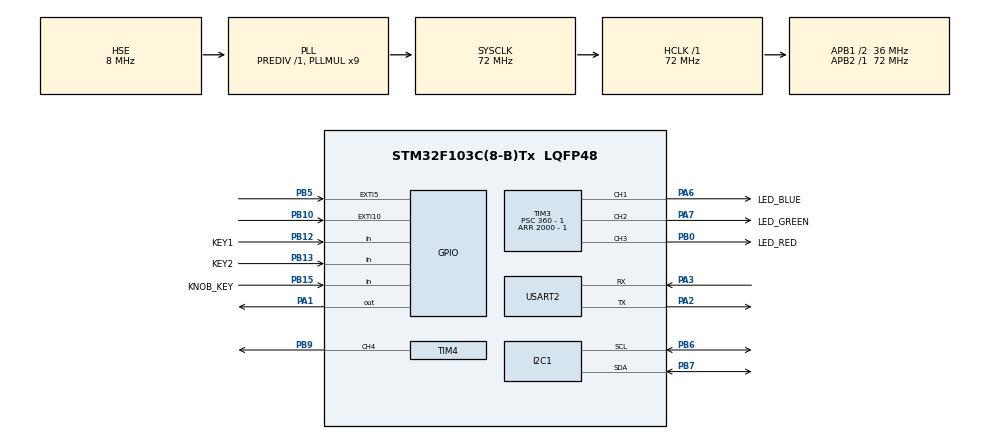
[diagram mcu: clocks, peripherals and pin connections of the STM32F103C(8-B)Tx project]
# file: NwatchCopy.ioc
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I2C1.I2C_Mode=I2C_Fast
Mcu.Family=STM32F1
Mcu.Name=STM32F103C(8-B)Tx
Mcu.Package=LQFP48
NVIC.EXTI15_10_IRQn=true\:5\:0\:true\:false\:true\:true\:true\:true
NVIC.PriorityGroup=NVIC_PRIORITYGROUP_4
PA1.GPIO_ModeDefaultOutputPP=GPIO_MODE_OUTPUT_OD
PA1.GPIO_PuPd=GPIO_PULLUP
PA1.Signal=GPIO_Output
PA13.Mode=Serial_Wire
PA13.Signal=SYS_JTMS-SWDIO
PA14.Mode=Serial_Wire
PA14.Signal=SYS_JTCK-SWCLK
PA2.Mode=Asynchronous
PA2.Signal=USART2_TX
PA3.Mode=Asynchronous
PA3.Signal=USART2_RX
PA6.GPIO_Label=LED_BLUE
PA6.Signal=S_TIM3_CH1
PA7.GPIO_Label=LED_GREEN
PA7.Signal=S_TIM3_CH2
PB0.GPIO_Label=LED_RED
PB0.Signal=S_TIM3_CH3
PB10.GPIO_ModeDefaultEXTI=GPIO_MODE_IT_RISING_FALLING
PB10.GPIO_PuPd=GPIO_PULLUP
PB10.Signal=GPXTI10
PB12.GPIO_Label=KEY1
PB12.GPIO_PuPd=GPIO_PULLUP
PB12.Signal=GPIO_Input
PB13.GPIO_Label=KEY2
PB13.GPIO_PuPd=GPIO_PULLUP
PB13.Signal=GPIO_Input
PB15.GPIO_Label=KNOB_KEY
PB15.GPIO_PuPd=GPIO_PULLUP
PB15.Signal=GPIO_Input
PB5.GPIO_PuPd=GPIO_PULLUP
PB5.Signal=GPXTI5
PB6.Mode=I2C
PB6.Signal=I2C1_SCL
PB7.Mode=I2C
PB7.Signal=I2C1_SDA
PB9.Signal=S_TIM4_CH4
PC14-OSC32_IN.Mode=LSE-External-Oscillator
PC14-OSC32_IN.Signal=RCC_OSC32_IN
PC15-OSC32_OUT.Mode=LSE-External-Oscillator
PC15-OSC32_OUT.Signal=RCC_OSC32_OUT
PD0-OSC_IN.Mode=HSE-External-Oscillator
PD0-OSC_IN.Signal=RCC_OSC_IN
PD1-OSC_OUT.Mode=HSE-External-Oscillator
PD1-OSC_OUT.Signal=RCC_OSC_OUT
ProjectManager.HeapSize=0x200
ProjectManager.StackSize=0x400
ProjectManager.TargetToolchain=CMake
RCC.AHBFreq_Value=72000000
RCC.APB1CLKDivider=RCC_HCLK_DIV2
RCC.APB1Freq_Value=36000000
RCC.APB1TimFreq_Value=72000000
RCC.APB2Freq_Value=72000000
RCC.APB2TimFreq_Value=72000000
RCC.HCLKFreq_Value=72000000
RCC.PLLMUL=RCC_PLL_MUL9
RCC.PLLSourceVirtual=RCC_PLLSOURCE_HSE
RCC.RTCClockSelection=RCC_RTCCLKSOURCE_LSE
RCC.SYSCLKFreq_VALUE=72000000
RCC.SYSCLKSource=RCC_SYSCLKSOURCE_PLLCLK
RCC.USBFreq_Value=72000000
SH.S_TIM3_CH1.0=TIM3_CH1,PWM Generation1 CH1
SH.S_TIM3_CH2.0=TIM3_CH2,PWM Generation2 CH2
SH.S_TIM3_CH3.0=TIM3_CH3,PWM Generation3 CH3
SH.S_TIM4_CH4.0=TIM4_CH4,PWM Generation4 CH4
TIM3.AutoReloadPreload=TIM_AUTORELOAD_PRELOAD_ENABLE
TIM3.Channel-PWM\ Generation1\ CH1=TIM_CHANNEL_1
TIM3.Channel-PWM\ Generation2\ CH2=TIM_CHANNEL_2
TIM3.Channel-PWM\ Generation3\ CH3=TIM_CHANNEL_3
TIM3.Period=2000 - 1
TIM3.Prescaler=360 - 1
TIM4.AutoReloadPreload=TIM_AUTORELOAD_PRELOAD_ENABLE
TIM4.Channel-PWM\ Generation4\ CH4=TIM_CHANNEL_4
TIM4.Period=1000 - 1
TIM4.Prescaler=72 - 1
TIM4.Pulse-PWM\ Generation4\ CH4=200 - 1
USART2.VirtualMode=VM_ASYNC
VP_RTC_VS_RTC_Activate.Mode=RTC_Enabled
VP_TIM3_VS_ClockSourceINT.Mode=Internal
board=custom

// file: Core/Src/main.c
/* USER CODE BEGIN Header */
/**
  ******************************************************************************
  * @file           : main.c
  * @brief          : Main program body
  ******************************************************************************
  * @attention
  *
  * Copyright (c) 2025 STMicroelectronics.
  * All rights reserved.
  *
  * This software is licensed under terms that can be found in the LICENSE file
  * in the root directory of this software component.
  * If no LICENSE file comes with this software, it is provided AS-IS.
  *
  ******************************************************************************
  */
/* USER CODE END Header */
#include "main.h"
#include "i2c.h"
#include "rtc.h"
#include "tim.h"
#include "usart.h"
#include "gpio.h"

/* USER CODE BEGIN Includes */
#include "kk_time.h"

#include "normal.h"
#include "display.h"
#include "stopwatch.h"
#include "oled.h"
#include "draw.h"
#include <stdio.h>
#include "buzzer.h"
#include "animation.h"
// #include "buzzer.h"
/* USER CODE END Includes */

void SystemClock_Config(void);

/* USER CODE BEGIN 0 */
// 串口打印函数
static void uart_printf(UART_HandleTypeDef *huart, const char *msg)
{
  HAL_UART_Transmit(huart, (uint8_t*)msg, strlen(msg), HAL_MAX_DELAY);
}
/* USER CODE END 0 */

int main(void)
{

  /* MCU Configuration--------------------------------------------------------*/

  /* Reset of all peripherals, Initializes the Flash interface and the Systick. */
  HAL_Init();

  /* Configure the system clock */
  SystemClock_Config();

  /* Initialize all configured peripherals */
  MX_GPIO_Init();
  MX_I2C1_Init();
  MX_TIM3_Init();
  MX_TIM4_Init();
  MX_USART2_UART_Init();
  MX_RTC_Init();
  OLED_Init();
  draw_init();
  appconfig_init();
  buttons_init();

  display_set(watchface_normal);
  display_load();

  /* USER CODE END 2 */

  /* Infinite loop */
  /* USER CODE BEGIN WHILE */
  while (1)
  {

    // KK_RTC_GetTime();

    buzzer_update();
#if COMPILE_STOPWATCH
    stopwatch_update();
#endif
    buttons_update();
    display_update();
    /* USER CODE END WHILE */

  }
}

void SystemClock_Config(void)
{
  RCC_OscInitTypeDef RCC_OscInitStruct = {0};
  RCC_ClkInitTypeDef RCC_ClkInitStruct = {0};
  RCC_PeriphCLKInitTypeDef PeriphClkInit = {0};

  /** Initializes the RCC Oscillators according to the specified parameters
  * in the RCC_OscInitTypeDef structure.
  */
  RCC_OscInitStruct.OscillatorType = RCC_OSCILLATORTYPE_HSE|RCC_OSCILLATORTYPE_LSE;
  RCC_OscInitStruct.HSEState = RCC_HSE_ON;
  RCC_OscInitStruct.HSEPredivValue = RCC_HSE_PREDIV_DIV1;
  RCC_OscInitStruct.LSEState = RCC_LSE_ON;
  RCC_OscInitStruct.HSIState = RCC_HSI_ON;
  RCC_OscInitStruct.PLL.PLLState = RCC_PLL_ON;
  RCC_OscInitStruct.PLL.PLLSource = RCC_PLLSOURCE_HSE;
  RCC_OscInitStruct.PLL.PLLMUL = RCC_PLL_MUL9;
  if (HAL_RCC_OscConfig(&RCC_OscInitStruct) != HAL_OK)
  {
    Error_Handler();
  }

  /** Initializes the CPU, AHB and APB buses clocks
  */
  RCC_ClkInitStruct.ClockType = RCC_CLOCKTYPE_HCLK|RCC_CLOCKTYPE_SYSCLK
                              |RCC_CLOCKTYPE_PCLK1|RCC_CLOCKTYPE_PCLK2;
  RCC_ClkInitStruct.SYSCLKSource = RCC_SYSCLKSOURCE_PLLCLK;
  RCC_ClkInitStruct.AHBCLKDivider = RCC_SYSCLK_DIV1;
  RCC_ClkInitStruct.APB1CLKDivider = RCC_HCLK_DIV2;
  RCC_ClkInitStruct.APB2CLKDivider = RCC_HCLK_DIV1;

  if (HAL_RCC_ClockConfig(&RCC_ClkInitStruct, FLASH_LATENCY_2) != HAL_OK)
  {
    Error_Handler();
  }
  PeriphClkInit.PeriphClockSelection = RCC_PERIPHCLK_RTC;
  PeriphClkInit.RTCClockSelection = RCC_RTCCLKSOURCE_LSE;
  if (HAL_RCCEx_PeriphCLKConfig(&PeriphClkInit) != HAL_OK)
  {
    Error_Handler();
  }
}

void Error_Handler(void)
{
  __disable_irq();
  while (1)
  {
  }
}
